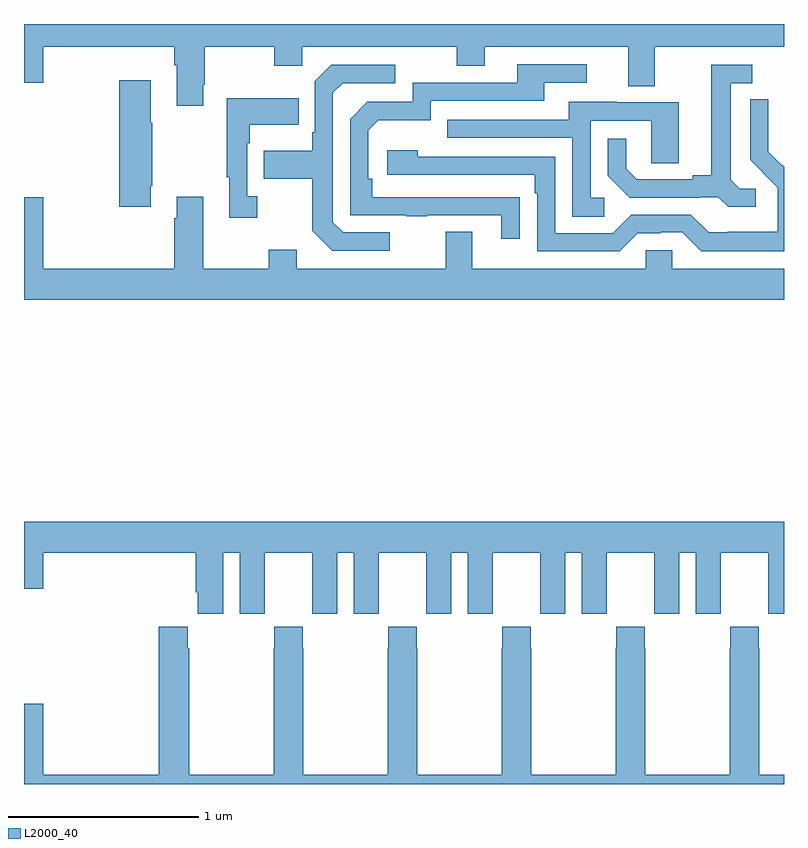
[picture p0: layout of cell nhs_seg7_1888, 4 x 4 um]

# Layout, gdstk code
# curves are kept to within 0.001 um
import gdstk
lib = gdstk.Library(unit=1e-6, precision=1e-09)
def P(c, l, *ps):  # polygons
    for p in ps: c.add(gdstk.Polygon(p, *l))
L2000_40 = (2000, 40)

nhs_seg7_1888 = lib.new_cell('nhs_seg7_1888')
P(nhs_seg7_1888, L2000_40, [(237.943,1069.681),(237.951,1069.681),(237.951,1069.88),(238.318,1069.88),(238.318,1069.781),(238.464,1069.781),(238.464,1069.88),(239.278,1069.88),(239.278,1069.781),(239.425,1069.781),(239.425,1069.88),(240.179,1069.88),(240.179,1069.672),(240.319,1069.672),(240.319,1069.88),(241,1069.88),(241,1070),(237,1070),(237,1069.692),(237.1,1069.692),(237.1,1069.88),(237.791,1069.88),(237.791,1069.784),(237.803,1069.784),(237.803,1069.569),(237.943,1069.569)],
  [(239.609,1069.088),(238.832,1069.089),(238.832,1069.186),(238.812,1069.186),(238.812,1069.44),(238.865,1069.493),(239.142,1069.493),(239.142,1069.596),(239.737,1069.596),(239.737,1069.692),(239.962,1069.692),(239.962,1069.788),(239.597,1069.788),(239.597,1069.692),(239.046,1069.692),(239.046,1069.59),(238.806,1069.59),(238.716,1069.5),(238.716,1068.993),(239.011,1068.993),(239.011,1068.988),(239.123,1068.988),(239.123,1068.993),(239.513,1068.993),(239.513,1068.87),(239.609,1068.87)],
  [(240.85,1069.134),(240.768,1069.134),(240.721,1069.181),(240.721,1069.689),(240.832,1069.689),(240.832,1069.785),(240.617,1069.785),(240.617,1069.205),(240.521,1069.205),(240.521,1069.182),(240.226,1069.182),(240.169,1069.239),(240.169,1069.396),(240.072,1069.396),(240.072,1069.202),(240.188,1069.086),(240.56,1069.086),(240.56,1069.089),(240.654,1069.089),(240.706,1069.037),(240.85,1069.037)],
  [(238.924,1068.903),(238.68,1068.903),(238.626,1068.957),(238.626,1069.638),(238.677,1069.689),(238.954,1069.689),(238.954,1069.785),(238.617,1069.785),(238.53,1069.698),(238.53,1069.429),(238.518,1069.429),(238.518,1069.333),(238.261,1069.333),(238.261,1069.186),(238.518,1069.186),(238.518,1068.913),(238.623,1068.807),(238.924,1068.807)],
  [(237.667,1069.15),(237.675,1069.15),(237.675,1069.481),(237.667,1069.481),(237.667,1069.705),(237.5,1069.705),(237.5,1069.038),(237.667,1069.038)],
  [(238.228,1069.094),(238.176,1069.094),(238.176,1069.373),(238.189,1069.373),(238.189,1069.469),(238.445,1069.469),(238.445,1069.609),(238.068,1069.609),(238.068,1069.193),(238.079,1069.193),(238.079,1068.981),(238.228,1068.981)],
  [(241,1069.25),(240.99,1069.26),(240.987,1069.257),(240.917,1069.328),(240.918,1069.604),(240.822,1069.604),(240.822,1069.286),(240.968,1069.138),(240.968,1069.041),(240.966,1069.041),(240.966,1068.907),(240.703,1068.907),(240.703,1068.903),(240.603,1068.903),(240.51,1068.996),(240.195,1068.996),(240.099,1068.9),(239.796,1068.9),(239.796,1069.302),(239.072,1069.302),(239.072,1069.336),(238.911,1069.336),(238.911,1069.206),(239.687,1069.206),(239.687,1069.109),(239.7,1069.109),(239.7,1068.804),(240.135,1068.804),(240.231,1068.9),(240.35,1068.9),(240.35,1068.903),(240.465,1068.903),(240.565,1068.803),(241,1068.803)],
  [(240.055,1069.086),(239.982,1069.086),(239.982,1069.491),(240.3,1069.491),(240.3,1069.267),(240.445,1069.267),(240.445,1069.587),(240.121,1069.587),(240.121,1069.591),(239.867,1069.591),(239.867,1069.497),(239.227,1069.497),(239.227,1069.401),(239.886,1069.401),(239.886,1068.985),(240.055,1068.985)],
  [(240.273,1068.81),(240.273,1068.712),(239.359,1068.712),(239.359,1068.907),(239.219,1068.907),(239.219,1068.712),(238.435,1068.712),(238.435,1068.811),(238.288,1068.811),(238.288,1068.712),(237.943,1068.712),(237.943,1069.09),(237.803,1069.09),(237.803,1068.977),(237.791,1068.977),(237.791,1068.712),(237.1,1068.712),(237.1,1069.087),(237,1069.087),(237,1068.548),(241,1068.548),(241,1068.712),(240.411,1068.712),(240.411,1068.81)],
  [(237,1067.028),(237.1,1067.028),(237.1,1067.216),(237.905,1067.216),(237.905,1067.008),(237.914,1067.008),(237.914,1066.896),(238.048,1066.896),(238.048,1067.216),(238.136,1067.216),(238.136,1066.896),(238.266,1066.896),(238.266,1067.008),(238.267,1067.008),(238.267,1067.216),(238.517,1067.216),(238.517,1067.008),(238.518,1067.008),(238.518,1066.896),(238.648,1066.896),(238.648,1067.216),(238.736,1067.216),(238.736,1066.896),(238.866,1066.896),(238.866,1067.008),(238.867,1067.008),(238.867,1067.216),(239.117,1067.216),(239.117,1067.008),(239.118,1067.008),(239.118,1066.896),(239.248,1066.896),(239.248,1067.216),(239.336,1067.216),(239.336,1066.896),(239.466,1066.896),(239.466,1067.008),(239.467,1067.008),(239.467,1067.216),(239.717,1067.216),(239.717,1067.008),(239.718,1067.008),(239.718,1066.896),(239.848,1066.896),(239.848,1067.216),(239.936,1067.216),(239.936,1066.896),(240.066,1066.896),(240.066,1067.008),(240.067,1067.008),(240.067,1067.216),(240.317,1067.216),(240.317,1067.008),(240.318,1067.008),(240.318,1066.896),(240.448,1066.896),(240.448,1067.216),(240.536,1067.216),(240.536,1066.896),(240.666,1066.896),(240.666,1067.008),(240.667,1067.008),(240.667,1067.216),(240.917,1067.216),(240.917,1067.008),(240.918,1067.008),(240.918,1066.896),(241,1066.896),(241,1067.38),(237,1067.38)],
  [(241,1066.048),(240.87,1066.048),(240.87,1066.715),(240.867,1066.715),(240.867,1066.828),(240.717,1066.828),(240.717,1066.715),(240.715,1066.715),(240.715,1066.048),(240.27,1066.048),(240.27,1066.715),(240.267,1066.715),(240.267,1066.828),(240.117,1066.828),(240.117,1066.715),(240.115,1066.715),(240.115,1066.048),(239.67,1066.048),(239.67,1066.715),(239.667,1066.715),(239.667,1066.828),(239.517,1066.828),(239.517,1066.715),(239.515,1066.715),(239.515,1066.048),(239.07,1066.048),(239.07,1066.715),(239.067,1066.715),(239.067,1066.828),(238.917,1066.828),(238.917,1066.715),(238.915,1066.715),(238.915,1066.048),(238.47,1066.048),(238.47,1066.715),(238.467,1066.715),(238.467,1066.828),(238.317,1066.828),(238.317,1066.715),(238.315,1066.715),(238.315,1066.048),(237.87,1066.048),(237.87,1066.715),(237.863,1066.715),(237.863,1066.828),(237.71,1066.828),(237.71,1066.048),(237.1,1066.048),(237.1,1066.423),(237,1066.423),(237,1066),(241,1066)])

lib.write_gds('nhs_seg7_1888.gds')
